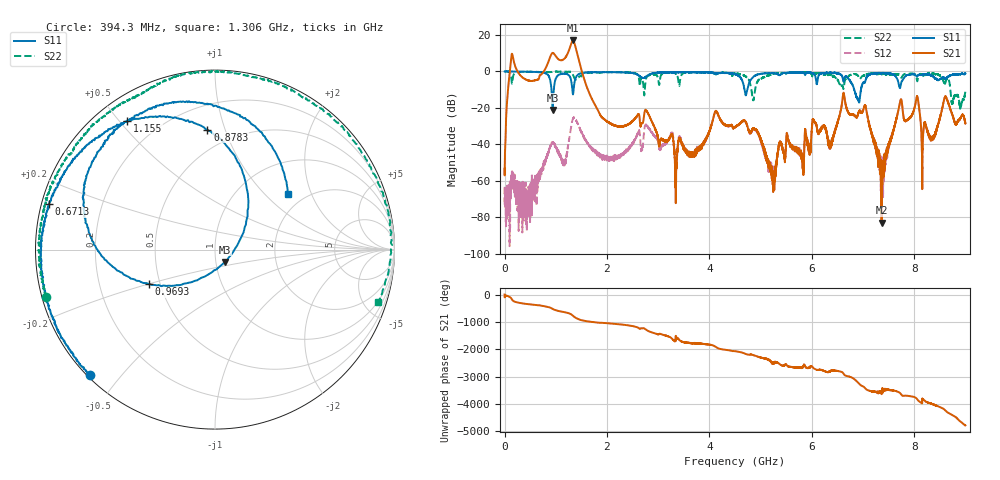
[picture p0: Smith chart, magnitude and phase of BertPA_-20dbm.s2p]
# Hz S DB R 50
! CMT, SC5090, 24087134, 25.3.3/4
! Date: 06.11.2025 18:47:14
! Data: Format (Calibration Info)
! Freq	S11:dB/Ang(F2)	S21:dB/Ang(F2)	S12:dB/Ang(F2)	S22:dB/Ang(F2)
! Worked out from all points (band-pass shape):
!   9001 points, 300 kHz to 9 GHz, reference 50 ohm
!   highest |S21| = 17.01 dB at 1.335 GHz (marker M1); lowest = -82.9 dB at 7.363 GHz (marker M2)
!   |S21| within 3 dB of the highest: 1.285 GHz to 1.38 GHz (94.35 MHz wide, 7.08 % of centre)
!   lowest |S11| = -21.1 dB at 938.3 MHz (marker M3), VSWR 1.19, Z = 55.3 - j7.61 ohm
!   |S11| at or under -10 dB: 915.8 MHz to 960.3 MHz (44.47 MHz wide, 4.74 % of centre); 4.685 GHz to 4.74 GHz (54.47 MHz wide, 1.16 % of centre); 6.829 GHz to 6.96 GHz (130.5 MHz wide, 1.89 % of centre)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
!   |S22| runs from -20.4 to 0.0 dB; largest |S21 - S12| = 7.1
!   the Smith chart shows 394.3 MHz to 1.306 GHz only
!   S11 on the Smith chart (normalised r, x): 394.3 MHz: 0.01, -0.42; 671.3 MHz: 0.02, +0.13; 878.3 MHz: 0.36, +0.87; 969.3 MHz: 0.44, -0.20; 1.155 GHz: 0.09, +0.53; 1.306 GHz: 1.65, +1.37
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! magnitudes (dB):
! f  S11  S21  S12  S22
! 300 kHz  0.0  -53.3  -73.0  0.0
! 134.3 MHz  0.0  8.8  -61.5  -4.5
! 394.3 MHz  -0.1  -4.1  -69.6  -0.2
! 671.3 MHz  -0.4  -3.8  -58.6  -0.3
! 878.3 MHz  -3.5  7.0  -42.0  -0.4
! 938.3 MHz  -21.1  10.2  -39.0  -0.2
! 969.3 MHz  -7.7  9.6  -39.9  -0.1
! 1.155 GHz  -1.2  6.7  -50.8  -0.1
! 1.306 GHz  -5.9  15.8  -29.1  -0.4
! 1.335 GHz  -12.5  17.0  -25.9  -1.7
! 1.5 GHz  -0.9  0.7  -33.5  -2.6
! 1.927 GHz  -0.4  -25.7  -46.7  -0.5
! 3 GHz  -0.6  -37.1  -37.9  -4.3
! 4.5 GHz  -1.4  -30.4  -30.4  -1.1
! 5.247 GHz  -0.9  -55.7  -55.4  -1.3
! 6 GHz  -0.8  -31.7  -31.8  -1.7
! 7.035 GHz  -5.9  -18.6  -18.5  -2.2
! 7.363 GHz  -1.1  -82.9  -49.2  -1.6
! 7.5 GHz  -1.1  -40.9  -40.5  -1.4
! 7.73 GHz  -8.4  -16.1  -16.1  -2.4
! 8.339 GHz  -2.4  -36.7  -37.0  -1.1
! 9 GHz  -1.1  -28.5  -28.1  -11.0
